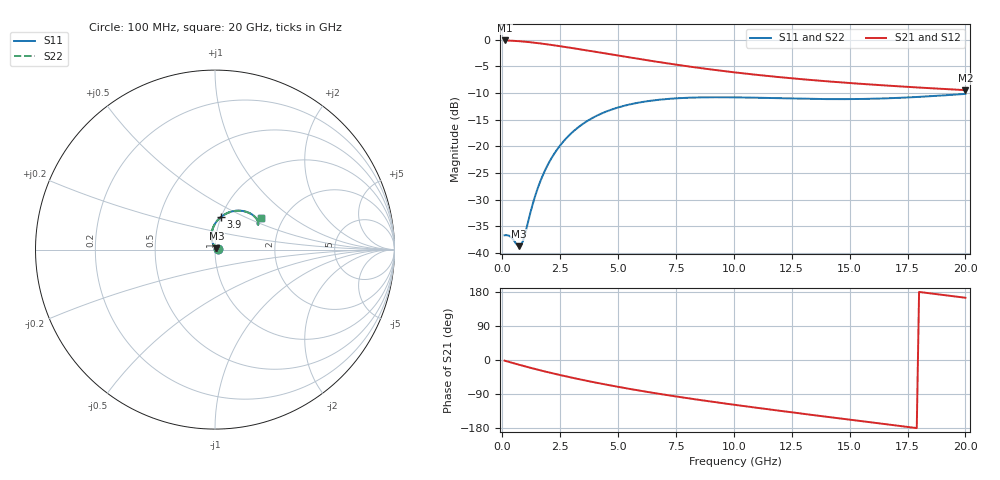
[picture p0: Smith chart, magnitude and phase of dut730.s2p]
! Touchstone file exported from HFSS 2024.1.0
!  File:  C:/UserFiles/LocalFiles/RDL_TSV_Batchsim/temp_RDL_TSV_730_1779892850.aedt
!  Generated:  10:57:52 PM May 27, 2026
!  Design:  RDL_TSV
!  Project:  temp_RDL_TSV_730_1779892850
!  Setup:  Setup1
!  Solution:  Sweep
! Variables:
!  dtsv = 7.64um
!  hbump = 3um
!  htsv = 99.47um
!  ldown = 652.1um
!  lrdl = 131.87um
!  p = 40
!  p1 = 57.7um
!  rhole = 10um
!  subl = 2483.78um
!  t = 450um
!  tdown = 2.81um
!  trdl = 3.91um
!  viad = 10um
!  wdown = 27.62um
!  wrdl = 10.85um
!  xbump = 18um
# GHz S MA R 50.000000
! Terminal data exported
! Port[1] = TM1_1_T1
! Port[2] = TM1_4_T1
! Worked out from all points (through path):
!   200 points, 100 MHz to 20 GHz, reference 50 ohm
!   highest |S21| = -0.13 dB at 100 MHz (marker M1); lowest = -9.5 dB at 20 GHz (marker M2)
!   group delay of S21, straight-line fit = 25.5 ps
!   lowest |S11| = -38.8 dB at 700 MHz (marker M3), VSWR 1.02, Z = 50.8 + j0.842 ohm
!   |S11| at or under -10 dB: start of sweep to end of sweep
!   |S22| runs from -38.8 to -10.2 dB; largest |S21 - S12| = 9.6e-15
!   S11 on the Smith chart (normalised r, x): 100 MHz: 1.03, +0.00; 3.9 GHz: 1.00, +0.38; 20 GHz: 1.54, +0.60
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0.1  0.0146 5.2  0.985 -1.8  0.985 -1.8  0.0146 5.2
! Gamma 0 0 0 0
! Port Impedance 50 0 50 0
0.4  0.01389 18.6  0.9795 -7.0  0.9795 -7.0  0.0139 18.6
0.7  0.01153 45.9  0.9705 -12.1  0.9705 -12.1  0.01154 45.9
0.8  0.01171 61.2  0.9667 -13.8  0.9667 -13.8  0.01171 61.1
0.9  0.01302 76.4  0.9627 -15.4  0.9627 -15.4  0.01302 76.3
1.3  0.02792 106.2  0.9434 -21.9  0.9434 -21.9  0.02787 106.1
1.5  0.0386 109.0  0.9323 -25.1  0.9323 -25.1  0.03852 109.0
1.7  0.05036 109.0  0.9206 -28.1  0.9206 -28.1  0.05026 108.9
2  0.06923 106.5  0.9021 -32.6  0.9021 -32.6  0.06909 106.5
2.3  0.08878 102.7  0.8829 -36.9  0.8829 -36.9  0.08861 102.7
2.7  0.1148 96.9  0.8567 -42.5  0.8567 -42.5  0.1146 96.9
3.5  0.1633 85.2  0.8044 -53.0  0.8044 -53.0  0.163 85.2
3.9  0.1846 79.7  0.7786 -58.0  0.7786 -58.0  0.1843 79.7
4.5  0.2123 72.2  0.7411 -65.1  0.7411 -65.1  0.2119 72.1
5.2  0.2379 64.3  0.6996 -73.0  0.6996 -73.0  0.2375 64.3
6.8  0.2738 50.3  0.6156 -89.5  0.6156 -89.5  0.2733 50.2
8.4  0.2871 40.6  0.548 -104.3  0.548 -104.3  0.2866 40.6
10.1  0.2878 34.2  0.4922 -118.8  0.4922 -118.8  0.2872 34.2
11.7  0.2831 31.0  0.4515 -131.8  0.4515 -131.8  0.2825 31.0
13.4  0.2782 30.1  0.4177 -145.1  0.4177 -145.1  0.2775 30.0
16.7  0.2824 32.4  0.3703 -170.5  0.3703 -170.5  0.2818 32.4
20  0.3102 34.6  0.3363 164.2  0.3363 164.2  0.3096 34.6
